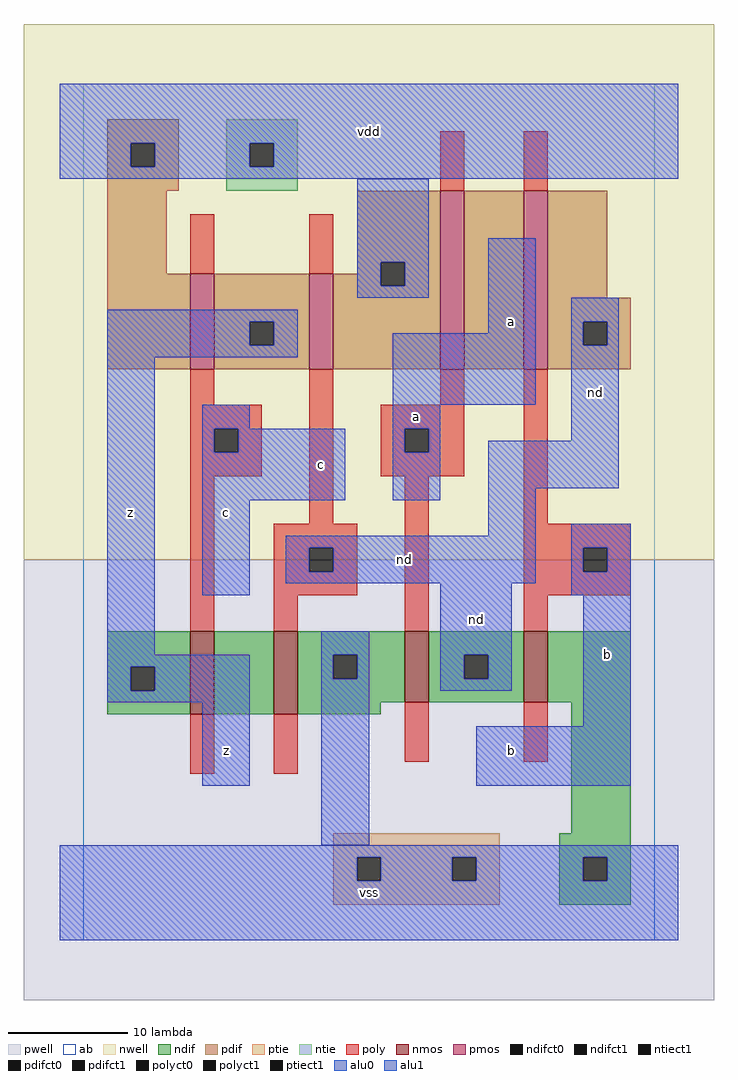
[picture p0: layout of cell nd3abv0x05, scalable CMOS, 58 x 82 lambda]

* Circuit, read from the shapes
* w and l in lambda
.subckt nd3abv0x05 a b c nd vdd vss z
M1 n1 c z vss nfet w=7 l=2
M2 vss nd n1 vss nfet w=7 l=2
M3 nd a vss vss nfet w=6 l=2
M4 vss b nd vss nfet w=6 l=2
M5 z c vdd vdd pfet w=8 l=2
M6 vdd nd z vdd pfet w=8 l=2
M7 n2 a vdd vdd pfet w=15 l=2
M8 nd b n2 vdd pfet w=15 l=2
.ends

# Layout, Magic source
magic
tech scmos
<< ab >>
rect 0 0 48 72
<< nwell >>
rect -5 32 53 77
<< pwell >>
rect -5 -5 53 32
<< poly >>
rect 30 63 32 68
rect 37 63 39 68
rect 9 56 11 61
rect 19 56 21 61
rect 9 45 11 48
rect 9 43 15 45
rect 9 41 11 43
rect 13 41 15 43
rect 9 39 15 41
rect 9 26 11 39
rect 19 35 21 48
rect 30 45 32 48
rect 25 43 32 45
rect 25 41 27 43
rect 29 41 32 43
rect 25 39 32 41
rect 16 33 23 35
rect 16 31 19 33
rect 21 31 23 33
rect 16 29 23 31
rect 16 26 18 29
rect 27 26 29 39
rect 37 35 39 48
rect 37 33 46 35
rect 37 31 42 33
rect 44 31 46 33
rect 37 29 46 31
rect 37 26 39 29
rect 9 14 11 19
rect 16 14 18 19
rect 27 15 29 20
rect 37 15 39 20
<< ndif >>
rect 2 23 9 26
rect 2 21 4 23
rect 6 21 9 23
rect 2 19 9 21
rect 11 19 16 26
rect 18 24 27 26
rect 18 22 21 24
rect 23 22 27 24
rect 18 20 27 22
rect 29 24 37 26
rect 29 22 32 24
rect 34 22 37 24
rect 29 20 37 22
rect 39 20 46 26
rect 18 19 25 20
rect 41 9 46 20
rect 40 7 46 9
rect 40 5 42 7
rect 44 5 46 7
rect 40 3 46 5
<< pdif >>
rect 2 67 8 69
rect 2 65 4 67
rect 6 65 8 67
rect 2 63 8 65
rect 2 56 7 63
rect 23 57 30 63
rect 23 56 25 57
rect 2 48 9 56
rect 11 52 19 56
rect 11 50 14 52
rect 16 50 19 52
rect 11 48 19 50
rect 21 55 25 56
rect 27 55 30 57
rect 21 48 30 55
rect 32 48 37 63
rect 39 54 44 63
rect 39 52 46 54
rect 39 50 42 52
rect 44 50 46 52
rect 39 48 46 50
<< alu1 >>
rect -2 67 50 72
rect -2 65 4 67
rect 6 65 14 67
rect 16 65 50 67
rect -2 64 50 65
rect 2 52 18 53
rect 2 50 14 52
rect 16 50 18 52
rect 34 51 38 59
rect 2 49 18 50
rect 2 24 6 49
rect 26 45 38 51
rect 10 43 14 45
rect 26 43 30 45
rect 10 41 11 43
rect 13 41 22 43
rect 10 37 22 41
rect 26 41 27 43
rect 29 41 30 43
rect 26 37 30 41
rect 10 29 14 37
rect 41 33 46 35
rect 41 31 42 33
rect 44 31 46 33
rect 2 23 14 24
rect 2 21 4 23
rect 6 21 14 23
rect 2 20 14 21
rect 10 13 14 20
rect 41 29 46 31
rect 42 18 46 29
rect 33 13 46 18
rect -2 7 50 8
rect -2 5 23 7
rect 25 5 31 7
rect 33 5 42 7
rect 44 5 50 7
rect -2 0 50 5
<< ptie >>
rect 21 7 35 9
rect 21 5 23 7
rect 25 5 31 7
rect 33 5 35 7
rect 21 3 35 5
<< ntie >>
rect 12 67 18 69
rect 12 65 14 67
rect 16 65 18 67
rect 12 63 18 65
<< nmos >>
rect 9 19 11 26
rect 16 19 18 26
rect 27 20 29 26
rect 37 20 39 26
<< pmos >>
rect 9 48 11 56
rect 19 48 21 56
rect 30 48 32 63
rect 37 48 39 63
<< polyct0 >>
rect 19 31 21 33
<< polyct1 >>
rect 11 41 13 43
rect 27 41 29 43
rect 42 31 44 33
<< ndifct0 >>
rect 21 22 23 24
rect 32 22 34 24
<< ndifct1 >>
rect 4 21 6 23
rect 42 5 44 7
<< ntiect1 >>
rect 14 65 16 67
<< ptiect1 >>
rect 23 5 25 7
rect 31 5 33 7
<< pdifct0 >>
rect 25 55 27 57
rect 42 50 44 52
<< pdifct1 >>
rect 4 65 6 67
rect 14 50 16 52
<< alu0 >>
rect 23 57 29 64
rect 23 55 25 57
rect 27 55 29 57
rect 23 54 29 55
rect 41 52 45 54
rect 41 50 42 52
rect 44 50 45 52
rect 41 42 45 50
rect 34 38 45 42
rect 34 34 38 38
rect 17 33 38 34
rect 17 31 19 33
rect 21 31 38 33
rect 17 30 38 31
rect 20 24 24 26
rect 20 22 21 24
rect 23 22 24 24
rect 20 8 24 22
rect 30 24 36 30
rect 30 22 32 24
rect 34 22 36 24
rect 30 21 36 22
<< labels >>
rlabel alu0 33 27 33 27 6 nd
rlabel alu0 27 32 27 32 6 nd
rlabel alu0 43 46 43 46 6 nd
rlabel alu1 4 36 4 36 6 z
rlabel alu1 12 16 12 16 6 z
rlabel alu1 20 40 20 40 6 c
rlabel alu1 12 36 12 36 6 c
rlabel alu1 24 4 24 4 6 vss
rlabel alu1 28 44 28 44 6 a
rlabel alu1 24 68 24 68 6 vdd
rlabel alu1 36 16 36 16 6 b
rlabel alu1 44 24 44 24 6 b
rlabel alu1 36 52 36 52 6 a
<< end >>
